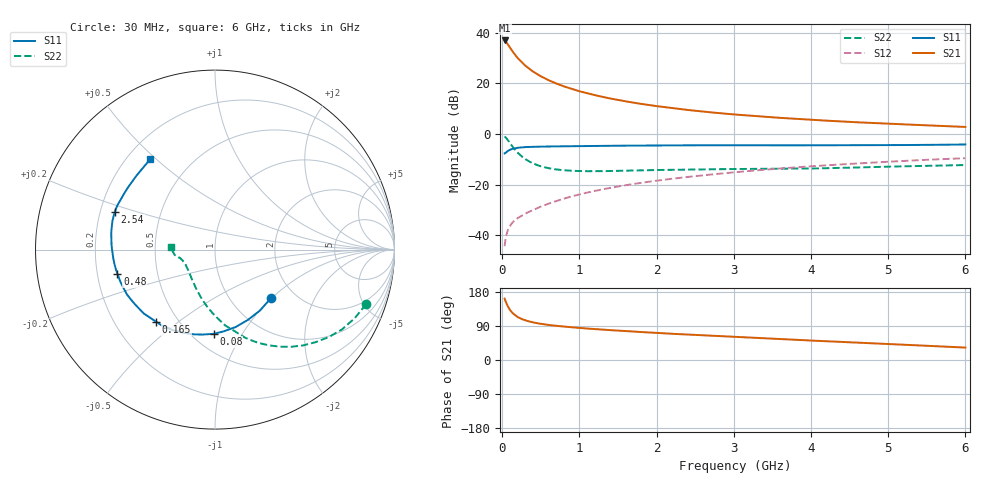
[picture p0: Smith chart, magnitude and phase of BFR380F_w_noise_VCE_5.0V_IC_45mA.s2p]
! Infineon Technologies  Discrete & RF Semiconductors
! BFR380F
! VCE =  5.0 V,  IC =  45 mA
! Common Emitter S-Parameters:  Nov 2015
# GHz  S  MA  R  50
!  f  S11  S21  S12  S22
! GHz  MAG  ANG  MAG  ANG  MAG  ANG  MAG  ANG
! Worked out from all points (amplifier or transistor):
!   206 points, 30 MHz to 6 GHz, reference 50 ohm
!   highest |S21| = 36.9 dB at 30 MHz (marker M1)
!   |S21| within 3 dB of that: start of sweep to 103.4 MHz
!   unconditionally stable (mu >= 1): 963.2 MHz to 4.897 GHz
!   at 200 MHz: K = 0.57, MSG = 31.6 dB, |S12| = -33.2 dB
!   at 1.56 GHz: K = 1.03, MAG = 15.6 dB, |S12| = -20.4 dB
!   at 6 GHz: K = 0.99, MSG = 6.2 dB, |S12| = -9.6 dB
!   lowest NFmin = 1.45 dB at 900 MHz
!   S11 on the Smith chart (normalised r, x): 30 MHz: 1.51, -0.99; 80 MHz: 0.63, -0.76; 165 MHz: 0.38, -0.42; 480 MHz: 0.29, -0.11; 2.54 GHz: 0.26, +0.17; 6 GHz: 0.29, +0.48
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0.03  0.4125 -41.3  69.81 161.8  0.0061 77.9  0.8951 -19.9
0.05  0.4327 -65.2  65 151.0  0.0097 70.8  0.8354 -32.2
0.07  0.4582 -84.0  58.9 142.2  0.0124 64.8  0.761 -42.7
0.08  0.4694 -91.0  56 138.7  0.0135 63.4  0.7252 -47.4
0.1  0.4864 -103.8  50.29 132.2  0.0154 60.3  0.6559 -55.6
0.12  0.499 -113.7  45.31 126.9  0.0171 58.2  0.5945 -62.6
0.15  0.5165 -125.1  39.11 120.6  0.0191 56.1  0.5182 -71.2
0.165  0.5186 -129.1  36.71 118.7  0.0199 55.9  0.4884 -74.1
0.2  0.5332 -138.2  31.31 113.1  0.0218 55.6  0.4251 -82.5
0.24  0.5391 -145.0  27.04 109.3  0.0238 56.3  0.3737 -89.2
0.3  0.5504 -152.9  22.09 104.4  0.0268 57.8  0.317 -98.5
0.4  0.5569 -161.3  16.92 99.1  0.0317 60.7  0.2616 -110.2
0.48  0.5604 -165.8  14.26 96.1  0.0358 62.7  0.235 -117.7
0.7  0.568 -174.1  9.864 90.2  0.0475 66.6  0.1991 -133.5
1.04  0.5759 178.2  6.699 84.0  0.0662 69.5  0.1846 -148.0
1.4  0.5831 172.3  4.993 78.8  0.0862 70.5  0.1856 -156.8
2.02  0.5932 164.6  3.504 71.3  0.1206 70.0  0.1939 -163.2
2.54  0.5963 159.3  2.82 65.7  0.1491 68.8  0.1997 -166.3
3.1  0.5958 154.1  2.361 60.1  0.1801 67.0  0.2032 -167.5
4.1  0.596 144.3  1.862 50.4  0.2351 62.6  0.2089 -168.1
5.1  0.6023 135.3  1.567 41.3  0.2878 57.9  0.228 -173.4
6  0.6194 125.6  1.373 32.8  0.3319 52.6  0.2433 176.1
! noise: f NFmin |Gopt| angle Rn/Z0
0.45  1.48  0.39  -176  0.08
0.9  1.45  0.41  -175  0.07
1.8  1.65  0.46  -163  0.09
1.9  1.73  0.47  -164  0.09
2.4  1.79  0.48  -154  0.11
3.5  2.39  0.53  -144  0.18
